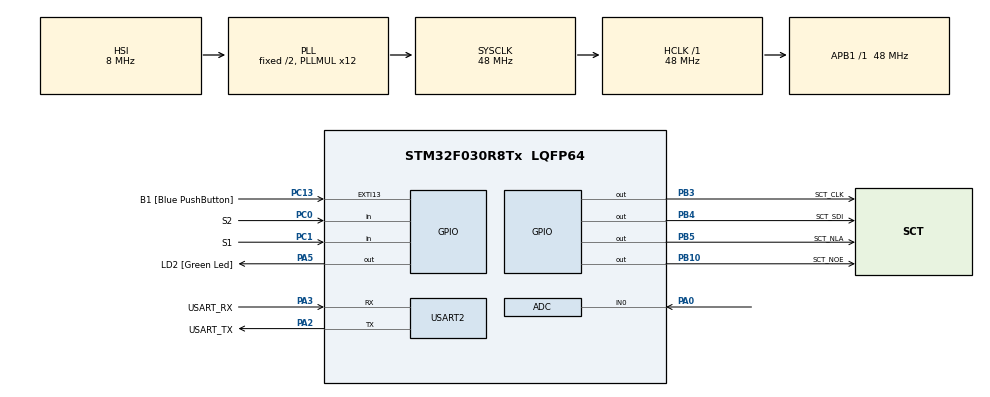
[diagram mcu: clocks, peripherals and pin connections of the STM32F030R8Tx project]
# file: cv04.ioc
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ADC.ContinuousConvMode=ENABLE
ADC.Overrun=ADC_OVR_DATA_OVERWRITTEN
ADC.SamplingTime=ADC_SAMPLETIME_239CYCLES_5
Mcu.Family=STM32F0
Mcu.Name=STM32F030R8Tx
Mcu.Package=LQFP64
NVIC.ADC1_IRQn=true\:0\:0\:false\:false\:true\:true\:true\:true
PA0.Mode=IN0
PA0.Signal=ADC_IN0
PA13.GPIO_Label=TMS
PA13.Mode=Serial_Wire
PA13.Signal=SYS_SWDIO
PA14.GPIO_Label=TCK
PA14.Mode=Serial_Wire
PA14.Signal=SYS_SWCLK
PA2.GPIO_Label=USART_TX
PA2.GPIO_Mode=GPIO_MODE_AF_PP
PA2.GPIO_PuPd=GPIO_NOPULL
PA2.GPIO_Speed=GPIO_SPEED_FREQ_LOW
PA2.Mode=Asynchronous
PA2.Signal=USART2_TX
PA3.GPIO_Label=USART_RX
PA3.GPIO_Mode=GPIO_MODE_AF_PP
PA3.GPIO_PuPd=GPIO_NOPULL
PA3.GPIO_Speed=GPIO_SPEED_FREQ_LOW
PA3.Mode=Asynchronous
PA3.Signal=USART2_RX
PA5.GPIO_Label=LD2 [Green Led]
PA5.GPIO_Mode=GPIO_MODE_OUTPUT_PP
PA5.GPIO_PuPd=GPIO_NOPULL
PA5.GPIO_Speed=GPIO_SPEED_FREQ_LOW
PA5.Signal=GPIO_Output
PB10.GPIO_Label=SCT_NOE
PB10.Signal=GPIO_Output
PB3.GPIO_Label=SCT_CLK
PB3.Signal=GPIO_Output
PB4.GPIO_Label=SCT_SDI
PB4.Signal=GPIO_Output
PB5.GPIO_Label=SCT_NLA
PB5.Signal=GPIO_Output
PC0.GPIO_Label=S2
PC0.GPIO_PuPd=GPIO_PULLUP
PC0.Signal=GPIO_Input
PC1.GPIO_Label=S1
PC1.GPIO_PuPd=GPIO_PULLUP
PC1.Signal=GPIO_Input
PC13.GPIO_Label=B1 [Blue PushButton]
PC13.GPIO_ModeDefaultEXTI=GPIO_MODE_IT_FALLING
PC13.Signal=GPXTI13
PC14-OSC32_IN.Mode=LSE-External-Oscillator
PC14-OSC32_IN.Signal=RCC_OSC32_IN
PC15-OSC32_OUT.Mode=LSE-External-Oscillator
PC15-OSC32_OUT.Signal=RCC_OSC32_OUT
PF0-OSC_IN.Mode=HSE-External-Clock-Source
PF0-OSC_IN.Signal=RCC_OSC_IN
PF1-OSC_OUT.Signal=RCC_OSC_OUT
ProjectManager.HeapSize=0x200
ProjectManager.StackSize=0x400
ProjectManager.TargetToolchain=STM32CubeIDE
RCC.AHBFreq_Value=48000000
RCC.APB1Freq_Value=48000000
RCC.APB1TimFreq_Value=48000000
RCC.HCLKFreq_Value=48000000
RCC.PLLMUL=RCC_PLL_MUL12
RCC.SYSCLKFreq_VALUE=48000000
RCC.SYSCLKSource=RCC_SYSCLKSOURCE_PLLCLK
USART2.VirtualMode-Asynchronous=VM_ASYNC
VP_ADC_TempSens_Input.Mode=IN-TempSens
VP_ADC_Vref_Input.Mode=IN-Vrefint
board=NUCLEO-F030R8

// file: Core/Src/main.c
/* USER CODE BEGIN Header */
/**
  ******************************************************************************
  * @file           : main.c
  * @brief          : Main program body
  ******************************************************************************
  * @attention
  *
  * Copyright (c) 2022 STMicroelectronics.
  * All rights reserved.
  *
  * This software is licensed under terms that can be found in the LICENSE file
  * in the root directory of this software component.
  * If no LICENSE file comes with this software, it is provided AS-IS.
  *
  ******************************************************************************
  */
/* USER CODE END Header */
#include "main.h"

/* USER CODE BEGIN Includes */
#include "sct.h"

/* USER CODE END Includes */

/* USER CODE BEGIN PD */
#define DISPLAY_PERIOD 50
#define ADC_Q 12
#define STATE_CHANGE 1000

/* Temperature sensor calibration value address */
#define TEMP110_CAL_ADDR ((uint16_t*) ((uint32_t) 0x1FFFF7C2))
#define TEMP30_CAL_ADDR ((uint16_t*) ((uint32_t) 0x1FFFF7B8))
/* Internal voltage reference calibration value address */
#define VREFINT_CAL_ADDR ((uint16_t*) ((uint32_t) 0x1FFFF7BA))

/* USER CODE END PD */

ADC_HandleTypeDef hadc;

UART_HandleTypeDef huart2;

/* USER CODE BEGIN PV */
static volatile uint32_t raw_pot;  /* Kvuli preruseni je pouzita volatile */
static volatile uint32_t raw_temp;
static volatile uint32_t raw_volt;
static enum {SHOW_POT, SHOW_VOLT, SHOW_TEMP} state = SHOW_POT;

/* USER CODE END PV */

void SystemClock_Config(void);
static void MX_GPIO_Init(void);
static void MX_USART2_UART_Init(void);
static void MX_ADC_Init(void);

/* USER CODE BEGIN 0 */
void HAL_ADC_ConvCpltCallback(ADC_HandleTypeDef* hadc)
{

	/*static uint32_t avg_pot;
	raw_pot = avg_pot >> ADC_Q;
	avg_pot -= raw_pot;
	avg_pot += HAL_ADC_GetValue(hadc);*/

	static uint8_t channel = 0;
	if(channel == 0){
		static uint32_t avg_pot;

		raw_pot = avg_pot >> ADC_Q;
		avg_pot -= raw_pot;
		avg_pot += HAL_ADC_GetValue(hadc);
	}

	else if(channel == 1){
		raw_temp = HAL_ADC_GetValue(hadc);

	}

	else if(channel == 2){
		raw_volt = HAL_ADC_GetValue(hadc);
	}

	if (__HAL_ADC_GET_FLAG(hadc, ADC_FLAG_EOS)) channel = 0;
	else channel++;

}
/* USER CODE END 0 */

int main(void)
{

  /* MCU Configuration--------------------------------------------------------*/

  /* Reset of all peripherals, Initializes the Flash interface and the Systick. */
  HAL_Init();

  /* Configure the system clock */
  SystemClock_Config();

  /* Initialize all configured peripherals */
  MX_GPIO_Init();
  MX_USART2_UART_Init();
  MX_ADC_Init();
  /* USER CODE BEGIN 2 */
  HAL_ADCEx_Calibration_Start(&hadc);
  HAL_ADC_Start_IT(&hadc);
  /* USER CODE END 2 */

  /* Infinite loop */
  while (1){

    /* USER CODE BEGIN 3 */
	  //static uint32_t lastDisplayTicks = 0;

	  /* if(HAL_GetTick() >= lastDisplayTicks + DISPLAY_PERIOD) {
	  		  lastDisplayTicks = HAL_GetTick();

	  		  sct_value(raw_pot * 500.5 / 4096, raw_pot * 9 / 4096);
	  	  }*/

	  /* if (state == SHOW_POT) {
	  		  sct_value(raw_pot * 500.5 / 4096, raw_pot * 9 / 4096);
	  		}

	  	  else if (state == SHOW_TEMP) {
	  		  int32_t temperature = (raw_temp - (int32_t) (*TEMP30_CAL_ADDR));

	  		  temperature = temperature * (int32_t) (110 - 30);
	  	      temperature = temperature / (int32_t) (*TEMP110_CAL_ADDR - *TEMP30_CAL_ADDR);
	  		  temperature = temperature + 30;
	  		}

	  	  else if (state == SHOW_VOLT){
	  		  uint32_t voltage = 330 * (*VREFINT_CAL_ADDR) / raw_volt;
	  		  sct_value(voltage, raw_pot * 9 / 4096);
	  	  }
	   */

	  // if(HAL_GetTick() >= lastDisplayTicks + DISPLAY_PERIOD) state = SHOW_POT;
	  static uint32_t state_timeout2 = 0;

	  if(HAL_GetTick() >= DISPLAY_PERIOD + state_timeout2){ //smycka se zpozdenim 50ms
		  state_timeout2 = HAL_GetTick();
		  static uint32_t state_timeout = 0;

		  	  if(!HAL_GPIO_ReadPin(GPIOC, S1_Pin)){ //tlacitko 1 pro temp

		  		  state = SHOW_TEMP;
		  		  state_timeout = HAL_GetTick();
		  	  }

		  	  else if(!HAL_GPIO_ReadPin(GPIOC, S2_Pin)){ //tlacitko 2 pro volt

		  	  	  state = SHOW_VOLT;
		  	  	  state_timeout = HAL_GetTick();
		  	  }

		  	  if(HAL_GetTick() >= STATE_CHANGE + state_timeout) state = SHOW_POT;
		  	  static int32_t temperature;
		  	  static uint32_t voltage;
		  	  switch (state){
				  case SHOW_POT:
					   sct_value(raw_pot * 500.5 / 4096, raw_pot * 9 / 4096);
					   break;

				  case SHOW_TEMP:
					  temperature = (raw_temp - (int32_t)(*TEMP30_CAL_ADDR));
					  temperature = temperature * (int32_t)(110 - 30);
					  temperature = temperature / (int32_t)(*TEMP110_CAL_ADDR - *TEMP30_CAL_ADDR);
					  temperature = temperature + 30;
					  sct_value(temperature, 0);
					  break;

				  case SHOW_VOLT:
					  voltage = 330 * (*VREFINT_CAL_ADDR) / raw_volt;
					  sct_value(voltage, 0);
					  break;

				  default:
					  state = SHOW_POT;
		  	  }

	  }

  }
  /* USER CODE END 3 */
}

void SystemClock_Config(void)
{
  RCC_OscInitTypeDef RCC_OscInitStruct = {0};
  RCC_ClkInitTypeDef RCC_ClkInitStruct = {0};

  /** Initializes the RCC Oscillators according to the specified parameters
  * in the RCC_OscInitTypeDef structure.
  */
  RCC_OscInitStruct.OscillatorType = RCC_OSCILLATORTYPE_HSI|RCC_OSCILLATORTYPE_HSI14;
  RCC_OscInitStruct.HSIState = RCC_HSI_ON;
  RCC_OscInitStruct.HSI14State = RCC_HSI14_ON;
  RCC_OscInitStruct.HSICalibrationValue = RCC_HSICALIBRATION_DEFAULT;
  RCC_OscInitStruct.HSI14CalibrationValue = 16;
  RCC_OscInitStruct.PLL.PLLState = RCC_PLL_ON;
  RCC_OscInitStruct.PLL.PLLSource = RCC_PLLSOURCE_HSI;
  RCC_OscInitStruct.PLL.PLLMUL = RCC_PLL_MUL12;
  RCC_OscInitStruct.PLL.PREDIV = RCC_PREDIV_DIV1;
  if (HAL_RCC_OscConfig(&RCC_OscInitStruct) != HAL_OK)
  {
    Error_Handler();
  }

  /** Initializes the CPU, AHB and APB buses clocks
  */
  RCC_ClkInitStruct.ClockType = RCC_CLOCKTYPE_HCLK|RCC_CLOCKTYPE_SYSCLK
                              |RCC_CLOCKTYPE_PCLK1;
  RCC_ClkInitStruct.SYSCLKSource = RCC_SYSCLKSOURCE_PLLCLK;
  RCC_ClkInitStruct.AHBCLKDivider = RCC_SYSCLK_DIV1;
  RCC_ClkInitStruct.APB1CLKDivider = RCC_HCLK_DIV1;

  if (HAL_RCC_ClockConfig(&RCC_ClkInitStruct, FLASH_LATENCY_1) != HAL_OK)
  {
    Error_Handler();
  }
}

static void MX_ADC_Init(void)
{

  ADC_ChannelConfTypeDef sConfig = {0};

  /** Configure the global features of the ADC (Clock, Resolution, Data Alignment and number of conversion)
  */
  hadc.Instance = ADC1;
  hadc.Init.ClockPrescaler = ADC_CLOCK_ASYNC_DIV1;
  hadc.Init.Resolution = ADC_RESOLUTION_12B;
  hadc.Init.DataAlign = ADC_DATAALIGN_RIGHT;
  hadc.Init.ScanConvMode = ADC_SCAN_DIRECTION_FORWARD;
  hadc.Init.EOCSelection = ADC_EOC_SINGLE_CONV;
  hadc.Init.LowPowerAutoWait = DISABLE;
  hadc.Init.LowPowerAutoPowerOff = DISABLE;
  hadc.Init.ContinuousConvMode = ENABLE;
  hadc.Init.DiscontinuousConvMode = DISABLE;
  hadc.Init.ExternalTrigConv = ADC_SOFTWARE_START;
  hadc.Init.ExternalTrigConvEdge = ADC_EXTERNALTRIGCONVEDGE_NONE;
  hadc.Init.DMAContinuousRequests = DISABLE;
  hadc.Init.Overrun = ADC_OVR_DATA_OVERWRITTEN;
  if (HAL_ADC_Init(&hadc) != HAL_OK)
  {
    Error_Handler();
  }

  /** Configure for the selected ADC regular channel to be converted.
  */
  sConfig.Channel = ADC_CHANNEL_0;
  sConfig.Rank = ADC_RANK_CHANNEL_NUMBER;
  sConfig.SamplingTime = ADC_SAMPLETIME_239CYCLES_5;
  if (HAL_ADC_ConfigChannel(&hadc, &sConfig) != HAL_OK)
  {
    Error_Handler();
  }

  /** Configure for the selected ADC regular channel to be converted.
  */
  sConfig.Channel = ADC_CHANNEL_TEMPSENSOR;
  if (HAL_ADC_ConfigChannel(&hadc, &sConfig) != HAL_OK)
  {
    Error_Handler();
  }

  /** Configure for the selected ADC regular channel to be converted.
  */
  sConfig.Channel = ADC_CHANNEL_VREFINT;
  if (HAL_ADC_ConfigChannel(&hadc, &sConfig) != HAL_OK)
  {
    Error_Handler();
  }

}

static void MX_USART2_UART_Init(void)
{

  huart2.Instance = USART2;
  huart2.Init.BaudRate = 38400;
  huart2.Init.WordLength = UART_WORDLENGTH_8B;
  huart2.Init.StopBits = UART_STOPBITS_1;
  huart2.Init.Parity = UART_PARITY_NONE;
  huart2.Init.Mode = UART_MODE_TX_RX;
  huart2.Init.HwFlowCtl = UART_HWCONTROL_NONE;
  huart2.Init.OverSampling = UART_OVERSAMPLING_16;
  huart2.Init.OneBitSampling = UART_ONE_BIT_SAMPLE_DISABLE;
  huart2.AdvancedInit.AdvFeatureInit = UART_ADVFEATURE_NO_INIT;
  if (HAL_UART_Init(&huart2) != HAL_OK)
  {
    Error_Handler();
  }

}

static void MX_GPIO_Init(void)
{
  GPIO_InitTypeDef GPIO_InitStruct = {0};

  /* GPIO Ports Clock Enable */
  __HAL_RCC_GPIOC_CLK_ENABLE();
  __HAL_RCC_GPIOF_CLK_ENABLE();
  __HAL_RCC_GPIOA_CLK_ENABLE();
  __HAL_RCC_GPIOB_CLK_ENABLE();

  /*Configure GPIO pin Output Level */
  HAL_GPIO_WritePin(GPIOA, GPIO_PIN_5, GPIO_PIN_RESET);

  /*Configure GPIO pin Output Level */
  HAL_GPIO_WritePin(GPIOB, GPIO_PIN_10|GPIO_PIN_3|GPIO_PIN_4|GPIO_PIN_5, GPIO_PIN_RESET);

  /*Configure GPIO pin : PC13 */
  GPIO_InitStruct.Pin = GPIO_PIN_13;
  GPIO_InitStruct.Mode = GPIO_MODE_IT_FALLING;
  GPIO_InitStruct.Pull = GPIO_NOPULL;
  HAL_GPIO_Init(GPIOC, &GPIO_InitStruct);

  /*Configure GPIO pins : PC0 PC1 */
  GPIO_InitStruct.Pin = GPIO_PIN_0|GPIO_PIN_1;
  GPIO_InitStruct.Mode = GPIO_MODE_INPUT;
  GPIO_InitStruct.Pull = GPIO_PULLUP;
  HAL_GPIO_Init(GPIOC, &GPIO_InitStruct);

  /*Configure GPIO pin : PA5 */
  GPIO_InitStruct.Pin = GPIO_PIN_5;
  GPIO_InitStruct.Mode = GPIO_MODE_OUTPUT_PP;
  GPIO_InitStruct.Pull = GPIO_NOPULL;
  GPIO_InitStruct.Speed = GPIO_SPEED_FREQ_LOW;
  HAL_GPIO_Init(GPIOA, &GPIO_InitStruct);

  /*Configure GPIO pins : PB10 PB3 PB4 PB5 */
  GPIO_InitStruct.Pin = GPIO_PIN_10|GPIO_PIN_3|GPIO_PIN_4|GPIO_PIN_5;
  GPIO_InitStruct.Mode = GPIO_MODE_OUTPUT_PP;
  GPIO_InitStruct.Pull = GPIO_NOPULL;
  GPIO_InitStruct.Speed = GPIO_SPEED_FREQ_LOW;
  HAL_GPIO_Init(GPIOB, &GPIO_InitStruct);

}

void Error_Handler(void)
{
  __disable_irq();
  while (1)
  {
  }
}
